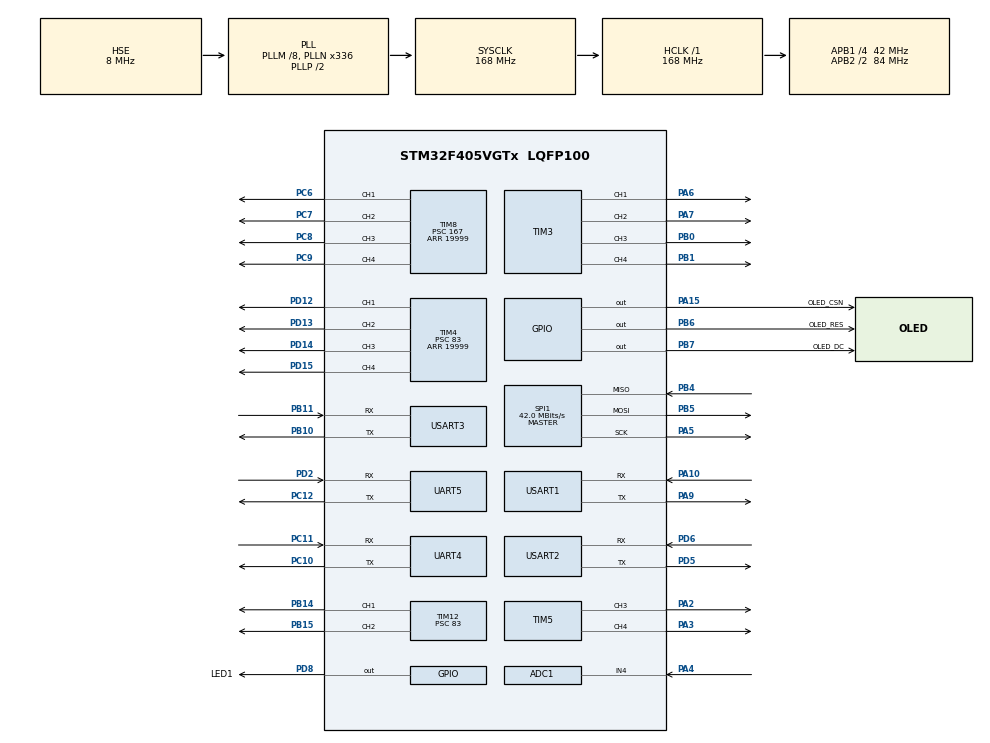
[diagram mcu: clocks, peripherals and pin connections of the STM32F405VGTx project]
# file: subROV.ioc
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PH0-OSC_IN.Signal=RCC_OSC_IN
SPI1.VirtualType=VM_MASTER
PB10.Mode=Asynchronous
NVIC.DMA1_Stream2_IRQn=true\:0\:0\:false\:false\:true\:false\:true
PC12.Signal=UART5_TX
PB6.GPIO_Label=OLED_RES
TIM8.Channel-PWM\ Generation4\ CH4=TIM_CHANNEL_4
Dma.USART3_RX.4.MemDataAlignment=DMA_MDATAALIGN_BYTE
SPI1.TIMode=SPI_TIMODE_DISABLE
TIM3.Channel-PWM\ Generation4\ CH4=TIM_CHANNEL_4
RCC.SYSCLKSource=RCC_SYSCLKSOURCE_PLLCLK
SPI1.Direction=SPI_DIRECTION_2LINES
Dma.USART2_RX.0.PeriphDataAlignment=DMA_PDATAALIGN_BYTE
RCC.APB2TimFreq_Value=168000000
PB6.Signal=GPIO_Output
PC7.Signal=S_TIM8_CH2
SPI1.CalculateBaudRate=42.0 MBits/s
PD8.Signal=GPIO_Output
PE5.Signal=S_TIM9_CH1
TIM4.Channel-PWM\ Generation3\ CH3=TIM_CHANNEL_3
Dma.USART1_RX.1.PeriphDataAlignment=DMA_PDATAALIGN_BYTE
TIM12.Period=255
SH.S_TIM12_CH1.0=TIM12_CH1,PWM Generation1 CH1
SH.S_TIM4_CH2.0=TIM4_CH2,PWM Generation2 CH2
TIM4.Period=19999
VP_TIM1_VS_ClockSourceINT.Mode=Internal
ADC1.SamplingTime-0\#ChannelRegularConversion=ADC_SAMPLETIME_3CYCLES
PB7.PinState=GPIO_PIN_RESET
Dma.USART1_RX.1.Mode=DMA_CIRCULAR
Mcu.Package=LQFP100
PB9.Signal=S_TIM11_CH1
TIM2.Prescaler=83
PB1.Signal=S_TIM3_CH4
TIM8.Channel-PWM\ Generation3\ CH3=TIM_CHANNEL_3
SH.S_TIM8_CH4.0=TIM8_CH4,PWM Generation4 CH4
NVIC.TimeBase=TIM7_IRQn
PD12.Signal=S_TIM4_CH1
PB6.GPIO_ModeDefaultOutputPP=GPIO_MODE_OUTPUT_PP
NVIC.TimeBaseIP=TIM7
PA10.Signal=USART1_RX
PC11.Mode=Asynchronous
SH.S_TIM12_CH2.0=TIM12_CH2,PWM Generation2 CH2
Dma.USART1_RX.1.PeriphInc=DMA_PINC_DISABLE
RCC.APB2CLKDivider=RCC_HCLK_DIV2
NVIC.DMA2_Stream2_IRQn=true\:0\:0\:false\:false\:true\:false\:true
SH.S_TIM4_CH1.0=TIM4_CH1,PWM Generation1 CH1
RCC.APB1TimFreq_Value=84000000
TIM1.Period=20000
NVIC.USART1_IRQn=true\:0\:0\:false\:false\:true\:true\:true
TIM4.Channel-PWM\ Generation4\ CH4=TIM_CHANNEL_4
PD15.Signal=S_TIM4_CH4
Dma.UART4_RX.3.MemInc=DMA_MINC_ENABLE
NVIC.UART4_IRQn=true\:0\:0\:false\:false\:true\:true\:true
PA5.Mode=Full_Duplex_Master
SH.S_TIM8_CH3.0=TIM8_CH3,PWM Generation3 CH3
Dma.USART1_RX.1.Instance=DMA2_Stream2
Dma.USART1_RX.1.MemDataAlignment=DMA_MDATAALIGN_BYTE
ADC1.Rank-0\#ChannelRegularConversion=1
Dma.UART4_RX.3.PeriphInc=DMA_PINC_DISABLE
PC6.Signal=S_TIM8_CH1
Dma.USART2_RX.0.Direction=DMA_PERIPH_TO_MEMORY
TIM5.Channel-PWM\ Generation3\ CH3=TIM_CHANNEL_3
SPI1.CLKPhase=SPI_PHASE_1EDGE
UART5.VirtualMode=Asynchronous
RCC.APB1CLKDivider=RCC_HCLK_DIV4
UART4.VirtualMode=Asynchronous
PD6.Mode=Asynchronous
Dma.UART5_RX.2.MemInc=DMA_MINC_ENABLE
Dma.USART3_RX.4.PeriphDataAlignment=DMA_PDATAALIGN_BYTE
SH.S_TIM8_CH2.0=TIM8_CH2,PWM Generation2 CH2
PA0-WKUP.Signal=S_TIM5_CH1
TIM3.Channel-PWM\ Generation3\ CH3=TIM_CHANNEL_3
Dma.USART3_RX.4.Mode=DMA_CIRCULAR
PB11.Mode=Asynchronous
SH.S_TIM9_CH2.0=TIM9_CH2
PA9.Signal=USART1_TX
VP_TIM8_VS_ClockSourceINT.Mode=Internal
PB10.Signal=USART3_TX
TIM12.Prescaler=83
PB14.Signal=S_TIM12_CH1
PA5.Signal=SPI1_SCK
Dma.USART1_RX.1.FIFOMode=DMA_FIFOMODE_DISABLE
SH.S_TIM8_CH1.0=TIM8_CH1,PWM Generation1 CH1
PC12.Mode=Asynchronous
SPI1.Mode=SPI_MODE_MASTER
SH.S_TIM9_CH1.0=TIM9_CH1
SH.ADCx_IN4.0=ADC1_IN4,IN4
Dma.UART4_RX.3.Instance=DMA1_Stream2
PA13.Mode=Serial_Wire
Dma.USART2_RX.0.MemInc=DMA_MINC_ENABLE
TIM8.Period=19999
PA4.Signal=ADCx_IN4
PB5.Signal=SPI1_MOSI
ADC1.master=1
USART1.VirtualMode=VM_ASYNC
PB6.PinState=GPIO_PIN_RESET
ProjectManager.HeapSize=0x200
Dma.UART5_RX.2.Mode=DMA_CIRCULAR
NVIC.TIM1_UP_TIM10_IRQn=true\:0\:0\:false\:false\:true\:true\:true
Dma.USART3_RX.4.MemInc=DMA_MINC_ENABLE
VP_TIM4_VS_ClockSourceINT.Mode=Internal
NVIC.PriorityGroup=NVIC_PRIORITYGROUP_4
Dma.UART5_RX.2.Direction=DMA_PERIPH_TO_MEMORY
TIM3.Channel-PWM\ Generation2\ CH2=TIM_CHANNEL_2
Dma.USART1_RX.1.Direction=DMA_PERIPH_TO_MEMORY
PD2.Signal=UART5_RX
PB6.GPIO_Speed=GPIO_SPEED_FREQ_VERY_HIGH
PB0.Signal=S_TIM3_CH3
Mcu.Family=STM32F4
NVIC.USART3_IRQn=true\:0\:0\:false\:false\:true\:true\:true
Dma.UART4_RX.3.Priority=DMA_PRIORITY_LOW
Dma.UART4_RX.3.FIFOMode=DMA_FIFOMODE_DISABLE
RCC.CortexFreq_Value=168000000
Dma.UART5_RX.2.Instance=DMA1_Stream0
Dma.USART3_RX.4.Priority=DMA_PRIORITY_LOW
TIM12.Channel-PWM\ Generation2\ CH2=TIM_CHANNEL_2
PC10.Signal=UART4_TX
SH.S_TIM5_CH2.0=TIM5_CH2
Dma.UART4_RX.3.PeriphDataAlignment=DMA_PDATAALIGN_BYTE
Dma.UART4_RX.3.Mode=DMA_CIRCULAR
PB11.Signal=USART3_RX
PB15.Signal=S_TIM12_CH2
ProjectManager.StackSize=0x400
NVIC.UART5_IRQn=true\:0\:0\:false\:false\:true\:true\:true
Dma.UART4_RX.3.Direction=DMA_PERIPH_TO_MEMORY
PD13.Signal=S_TIM4_CH2
PA15.GPIO_Label=OLED_CSN
TIM1.Prescaler=167
SPI1.CLKPolarity=SPI_POLARITY_LOW
Dma.USART2_RX.0.Priority=DMA_PRIORITY_LOW
RCC.HCLKFreq_Value=168000000
TIM8.Channel-PWM\ Generation1\ CH1=TIM_CHANNEL_1
SH.S_TIM5_CH3.0=TIM5_CH3,PWM Generation3 CH3
Dma.USART1_RX.1.MemInc=DMA_MINC_ENABLE
RCC.AHBFreq_Value=168000000
PH0-OSC_IN.Mode=HSE-External-Oscillator
PD5.Mode=Asynchronous
TIM3.Channel-PWM\ Generation1\ CH1=TIM_CHANNEL_1
ADC1.Channel-0\#ChannelRegularConversion=ADC_CHANNEL_4
RCC.HSE_VALUE=8000000
Dma.USART3_RX.4.PeriphInc=DMA_PINC_DISABLE
PB4.Mode=Full_Duplex_Master
Dma.USART2_RX.0.MemDataAlignment=DMA_MDATAALIGN_BYTE
TIM5.Channel-PWM\ Generation4\ CH4=TIM_CHANNEL_4
PA14.Mode=Serial_Wire
Dma.UART5_RX.2.Priority=DMA_PRIORITY_LOW
PB5.Mode=Full_Duplex_Master
Dma.USART2_RX.0.Instance=DMA1_Stream5
PB7.Signal=GPIO_Output
VP_TIM12_VS_ClockSourceINT.Mode=Internal
SH.S_TIM3_CH1.0=TIM3_CH1,PWM Generation1 CH1
PA15.GPIO_ModeDefaultOutputPP=GPIO_MODE_OUTPUT_PP
Dma.UART5_RX.2.PeriphInc=DMA_PINC_DISABLE
PB7.GPIO_Label=OLED_DC
PH1-OSC_OUT.Mode=HSE-External-Oscillator
PA6.Signal=S_TIM3_CH1
Dma.USART2_RX.0.PeriphInc=DMA_PINC_DISABLE
USART2.VirtualMode=VM_ASYNC
Dma.USART2_RX.0.FIFOMode=DMA_FIFOMODE_DISABLE
SH.S_TIM10_CH1.0=TIM10_CH1
TIM8.Channel-PWM\ Generation2\ CH2=TIM_CHANNEL_2
PA15.Signal=GPIO_Output
TIM8.Prescaler=167
Dma.USART3_RX.4.Instance=DMA1_Stream1
Dma.Request2=UART5_RX
Dma.Request1=USART1_RX
Dma.Request4=USART3_RX
Dma.Request3=UART4_RX
SH.S_TIM5_CH1.0=TIM5_CH1
NVIC.DMA1_Stream0_IRQn=true\:0\:0\:false\:false\:true\:false\:true
Dma.USART1_RX.1.Priority=DMA_PRIORITY_LOW
PD6.Signal=USART2_RX
SH.S_TIM11_CH1.0=TIM11_CH1
Dma.Request0=USART2_RX
SPI1.BaudRatePrescaler=SPI_BAUDRATEPRESCALER_2
NVIC.TIM7_IRQn=true\:0\:0\:false\:false\:true\:false\:true
VP_TIM3_VS_ClockSourceINT.Mode=Internal
Dma.UART5_RX.2.FIFOMode=DMA_FIFOMODE_DISABLE
Dma.USART3_RX.4.FIFOMode=DMA_FIFOMODE_DISABLE
PB4.Signal=SPI1_MISO
PA3.Signal=S_TIM5_CH4
PB7.GPIO_Speed=GPIO_SPEED_FREQ_VERY_HIGH
RCC.PLLSourceVirtual=RCC_PLLSOURCE_HSE
TIM4.Channel-PWM\ Generation1\ CH1=TIM_CHANNEL_1
PA10.Mode=Asynchronous
SH.S_TIM4_CH4.0=TIM4_CH4,PWM Generation4 CH4
PC11.Signal=UART4_RX
VP_SYS_VS_tim7.Mode=TIM7
PC8.Signal=S_TIM8_CH3
PC10.Mode=Asynchronous
PD5.Signal=USART2_TX
NVIC.DMA1_Stream1_IRQn=true\:0\:0\:false\:false\:true\:false\:true
Dma.UART4_RX.3.MemDataAlignment=DMA_MDATAALIGN_BYTE
SH.S_TIM3_CH3.0=TIM3_CH3,PWM Generation3 CH3
NVIC.USART2_IRQn=true\:0\:0\:false\:false\:true\:true\:true
Dma.USART2_RX.0.Mode=DMA_CIRCULAR
PD8.GPIO_Label=LED1
PA13.Signal=SYS_JTMS-SWDIO
PA9.Mode=Asynchronous
ProjectManager.TargetToolchain=STM32CubeIDE
NVIC.DMA1_Stream5_IRQn=true\:0\:0\:false\:false\:true\:false\:true
SH.S_TIM4_CH3.0=TIM4_CH3,PWM Generation3 CH3
TIM4.Prescaler=83
RCC.LSE_VALUE=32768
PA1.Signal=S_TIM5_CH2
PD2.Mode=Asynchronous
SH.S_TIM3_CH2.0=TIM3_CH2,PWM Generation2 CH2
board=custom
RCC.VCOOutputFreq_Value=336000000
PA15.PinState=GPIO_PIN_RESET
TIM12.Channel-PWM\ Generation1\ CH1=TIM_CHANNEL_1
TIM4.Channel-PWM\ Generation2\ CH2=TIM_CHANNEL_2
RCC.APB2Freq_Value=84000000
VP_TIM2_VS_ClockSourceINT.Mode=Internal
PB7.GPIO_ModeDefaultOutputPP=GPIO_MODE_OUTPUT_PP
PH1-OSC_OUT.Signal=RCC_OSC_OUT
SH.S_TIM5_CH4.0=TIM5_CH4,PWM Generation4 CH4
PE6.Signal=S_TIM9_CH2
Mcu.Name=STM32F405VGTx
PA2.Signal=S_TIM5_CH3
PD14.Signal=S_TIM4_CH3
RCC.48MHZClocksFreq_Value=84000000
RCC.SYSCLKFreq_VALUE=168000000
USART3.VirtualMode=VM_ASYNC
PA15.GPIO_Speed=GPIO_SPEED_FREQ_VERY_HIGH
PA14.Signal=SYS_JTCK-SWCLK
RCC.HSI_VALUE=16000000
Dma.USART3_RX.4.Direction=DMA_PERIPH_TO_MEMORY
ADC1.NbrOfConversionFlag=1
RCC.PLLM=8
RCC.PLLN=336
PB8.Signal=S_TIM10_CH1
PC9.Signal=S_TIM8_CH4
RCC.APB1Freq_Value=42000000
Dma.UART5_RX.2.PeriphDataAlignment=DMA_PDATAALIGN_BYTE
Dma.UART5_RX.2.MemDataAlignment=DMA_MDATAALIGN_BYTE
SH.S_TIM3_CH4.0=TIM3_CH4,PWM Generation4 CH4
PA7.Signal=S_TIM3_CH2

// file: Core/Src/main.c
/* USER CODE BEGIN Header */
/**
  ******************************************************************************
  * @file           : main.c
  * @brief          : Main program body
  ******************************************************************************
  * @attention
  *
  * <h2><center>&copy; Copyright (c) 2021 STMicroelectronics.
  * All rights reserved.</center></h2>
  *
  * This software component is licensed by ST under BSD 3-Clause license,
  * the "License"; You may not use this file except in compliance with the
  * License. You may obtain a copy of the License at:
  *                        opensource.org/licenses/BSD-3-Clause
  *
  ******************************************************************************
  */
/* USER CODE END Header */
#include "main.h"

/* USER CODE BEGIN Includes */
#include <stdio.h>
#include "VRU.h"
#include "oled.h"
#include "motor.h"
#include "PID.h"
#include "remote.h"
#include "raspi.h"
#include "deepSensor.h"
/* USER CODE END Includes */

ADC_HandleTypeDef hadc1;

SPI_HandleTypeDef hspi1;

TIM_HandleTypeDef htim1;
TIM_HandleTypeDef htim2;
TIM_HandleTypeDef htim3;
TIM_HandleTypeDef htim4;
TIM_HandleTypeDef htim5;
TIM_HandleTypeDef htim8;
TIM_HandleTypeDef htim12;

UART_HandleTypeDef huart4;
UART_HandleTypeDef huart5;
UART_HandleTypeDef huart1;
UART_HandleTypeDef huart2;
UART_HandleTypeDef huart3;
DMA_HandleTypeDef hdma_uart4_rx;
DMA_HandleTypeDef hdma_uart5_rx;
DMA_HandleTypeDef hdma_usart1_rx;
DMA_HandleTypeDef hdma_usart2_rx;
DMA_HandleTypeDef hdma_usart3_rx;

/* USER CODE BEGIN PV */
struct Frame frame={
		.tail={0x00, 0x00, 0x80, 0x7f}
};
/* USER CODE END PV */

void SystemClock_Config(void);
static void MX_GPIO_Init(void);
static void MX_DMA_Init(void);
static void MX_ADC1_Init(void);
static void MX_SPI1_Init(void);
static void MX_TIM1_Init(void);
static void MX_TIM2_Init(void);
static void MX_TIM3_Init(void);
static void MX_TIM4_Init(void);
static void MX_TIM5_Init(void);
static void MX_TIM8_Init(void);
static void MX_UART4_Init(void);
static void MX_UART5_Init(void);
static void MX_USART1_UART_Init(void);
static void MX_USART2_UART_Init(void);
static void MX_USART3_UART_Init(void);
static void MX_TIM12_Init(void);

/* USER CODE BEGIN 0 */
int _write(int file, char *ptr, int len) {
	HAL_UART_Transmit(&huart1, (uint8_t*) ptr, len, 300);
	return len;
}
void delay_us(unsigned int us) {
	unsigned int times = us + TIM2->CNT;
	while (TIM2->CNT < times)
		;
	return;
}
void delay_ms(unsigned int ms) {
	HAL_Delay(ms);
	return;
}
void HAL_UART_RxCpltCallback(UART_HandleTypeDef *huart)
{
	if(&huart2==huart)
	{
		VRUupdate();
	}else if(&huart4==huart)
	 {
		raspiUpdate();
	}
}
void HAL_UART_ErrorCallback(UART_HandleTypeDef *huart)
{
	if(&huart2==huart)
	{
		VRUerror(huart);
	}else if(&huart1==huart)
	{
		//remoteerr(huart);
	}else if(&huart5==huart)
	{
		remoteerr(huart);
	}else if(&huart3==huart)
	{
		deepSensorerr(huart);
	}else if(&huart4==huart)
	{
		raspierr(huart);
	}
}

/* USER CODE END 0 */

int main(void)
{

  /* MCU Configuration--------------------------------------------------------*/

  /* Reset of all peripherals, Initializes the Flash interface and the Systick. */
  HAL_Init();

  /* Configure the system clock */
  SystemClock_Config();

  /* Initialize all configured peripherals */
  MX_GPIO_Init();
  MX_DMA_Init();
  MX_ADC1_Init();
  MX_SPI1_Init();
  MX_TIM1_Init();
  MX_TIM2_Init();
  MX_TIM3_Init();
  MX_TIM4_Init();
  MX_TIM5_Init();
  MX_TIM8_Init();
  MX_UART4_Init();
  MX_UART5_Init();
  MX_USART1_UART_Init();
  MX_USART2_UART_Init();
  MX_USART3_UART_Init();
  MX_TIM12_Init();
  /* USER CODE BEGIN 2 */
  HAL_TIM_Base_Start(&htim2);//delay function sppeeort

  motorinit();

	HAL_TIM_Base_Start_IT(&htim1);
	HAL_TIM_PWM_Start(&htim12, TIM_CHANNEL_1);
	HAL_TIM_PWM_Start(&htim12, TIM_CHANNEL_2);

	VRUinit(&huart2);
	OLED_Init();
	//PID_init();
	remoteInit(&huart5);
	raspiInit(&huart4);
	deepSensorInit(&huart3);
	//remoteInit(&huart1);

  /* USER CODE END 2 */

  /* Infinite loop */
  /* USER CODE BEGIN WHILE */
  printf("hello\r\n");
  //OLED_ShowString(0,0,"runing...");

  OLED_ShowString(0,12,"run time:");
  OLED_ShowString(0,12,"worning:");
  OLED_ShowString(0,12,"temp:");
  while (1)
  {
	  OLED_ShowNumber(64, 12, HAL_GetTick()/1000, 3, 12);
	  HAL_Delay(333);
	  HAL_GPIO_TogglePin(LED1_GPIO_Port, LED1_Pin);
    /* USER CODE END WHILE */

  }
}

void SystemClock_Config(void)
{
  RCC_OscInitTypeDef RCC_OscInitStruct = {0};
  RCC_ClkInitTypeDef RCC_ClkInitStruct = {0};

  /** Configure the main internal regulator output voltage
  */
  __HAL_RCC_PWR_CLK_ENABLE();
  __HAL_PWR_VOLTAGESCALING_CONFIG(PWR_REGULATOR_VOLTAGE_SCALE1);
  /** Initializes the RCC Oscillators according to the specified parameters
  * in the RCC_OscInitTypeDef structure.
  */
  RCC_OscInitStruct.OscillatorType = RCC_OSCILLATORTYPE_HSE;
  RCC_OscInitStruct.HSEState = RCC_HSE_ON;
  RCC_OscInitStruct.PLL.PLLState = RCC_PLL_ON;
  RCC_OscInitStruct.PLL.PLLSource = RCC_PLLSOURCE_HSE;
  RCC_OscInitStruct.PLL.PLLM = 8;
  RCC_OscInitStruct.PLL.PLLN = 336;
  RCC_OscInitStruct.PLL.PLLP = RCC_PLLP_DIV2;
  RCC_OscInitStruct.PLL.PLLQ = 4;
  if (HAL_RCC_OscConfig(&RCC_OscInitStruct) != HAL_OK)
  {
    Error_Handler();
  }
  /** Initializes the CPU, AHB and APB buses clocks
  */
  RCC_ClkInitStruct.ClockType = RCC_CLOCKTYPE_HCLK|RCC_CLOCKTYPE_SYSCLK
                              |RCC_CLOCKTYPE_PCLK1|RCC_CLOCKTYPE_PCLK2;
  RCC_ClkInitStruct.SYSCLKSource = RCC_SYSCLKSOURCE_PLLCLK;
  RCC_ClkInitStruct.AHBCLKDivider = RCC_SYSCLK_DIV1;
  RCC_ClkInitStruct.APB1CLKDivider = RCC_HCLK_DIV4;
  RCC_ClkInitStruct.APB2CLKDivider = RCC_HCLK_DIV2;

  if (HAL_RCC_ClockConfig(&RCC_ClkInitStruct, FLASH_LATENCY_5) != HAL_OK)
  {
    Error_Handler();
  }
}

static void MX_ADC1_Init(void)
{

  ADC_ChannelConfTypeDef sConfig = {0};

  /** Configure the global features of the ADC (Clock, Resolution, Data Alignment and number of conversion)
  */
  hadc1.Instance = ADC1;
  hadc1.Init.ClockPrescaler = ADC_CLOCK_SYNC_PCLK_DIV4;
  hadc1.Init.Resolution = ADC_RESOLUTION_12B;
  hadc1.Init.ScanConvMode = DISABLE;
  hadc1.Init.ContinuousConvMode = DISABLE;
  hadc1.Init.DiscontinuousConvMode = DISABLE;
  hadc1.Init.ExternalTrigConvEdge = ADC_EXTERNALTRIGCONVEDGE_NONE;
  hadc1.Init.ExternalTrigConv = ADC_SOFTWARE_START;
  hadc1.Init.DataAlign = ADC_DATAALIGN_RIGHT;
  hadc1.Init.NbrOfConversion = 1;
  hadc1.Init.DMAContinuousRequests = DISABLE;
  hadc1.Init.EOCSelection = ADC_EOC_SINGLE_CONV;
  if (HAL_ADC_Init(&hadc1) != HAL_OK)
  {
    Error_Handler();
  }
  /** Configure for the selected ADC regular channel its corresponding rank in the sequencer and its sample time.
  */
  sConfig.Channel = ADC_CHANNEL_4;
  sConfig.Rank = 1;
  sConfig.SamplingTime = ADC_SAMPLETIME_3CYCLES;
  if (HAL_ADC_ConfigChannel(&hadc1, &sConfig) != HAL_OK)
  {
    Error_Handler();
  }

}

static void MX_SPI1_Init(void)
{

  /* SPI1 parameter configuration*/
  hspi1.Instance = SPI1;
  hspi1.Init.Mode = SPI_MODE_MASTER;
  hspi1.Init.Direction = SPI_DIRECTION_2LINES;
  hspi1.Init.DataSize = SPI_DATASIZE_8BIT;
  hspi1.Init.CLKPolarity = SPI_POLARITY_LOW;
  hspi1.Init.CLKPhase = SPI_PHASE_1EDGE;
  hspi1.Init.NSS = SPI_NSS_SOFT;
  hspi1.Init.BaudRatePrescaler = SPI_BAUDRATEPRESCALER_2;
  hspi1.Init.FirstBit = SPI_FIRSTBIT_MSB;
  hspi1.Init.TIMode = SPI_TIMODE_DISABLE;
  hspi1.Init.CRCCalculation = SPI_CRCCALCULATION_DISABLE;
  hspi1.Init.CRCPolynomial = 10;
  if (HAL_SPI_Init(&hspi1) != HAL_OK)
  {
    Error_Handler();
  }

}

static void MX_TIM1_Init(void)
{

  TIM_ClockConfigTypeDef sClockSourceConfig = {0};
  TIM_MasterConfigTypeDef sMasterConfig = {0};

  htim1.Instance = TIM1;
  htim1.Init.Prescaler = 167;
  htim1.Init.CounterMode = TIM_COUNTERMODE_UP;
  htim1.Init.Period = 20000;
  htim1.Init.ClockDivision = TIM_CLOCKDIVISION_DIV1;
  htim1.Init.RepetitionCounter = 0;
  htim1.Init.AutoReloadPreload = TIM_AUTORELOAD_PRELOAD_DISABLE;
  if (HAL_TIM_Base_Init(&htim1) != HAL_OK)
  {
    Error_Handler();
  }
  sClockSourceConfig.ClockSource = TIM_CLOCKSOURCE_INTERNAL;
  if (HAL_TIM_ConfigClockSource(&htim1, &sClockSourceConfig) != HAL_OK)
  {
    Error_Handler();
  }
  sMasterConfig.MasterOutputTrigger = TIM_TRGO_RESET;
  sMasterConfig.MasterSlaveMode = TIM_MASTERSLAVEMODE_DISABLE;
  if (HAL_TIMEx_MasterConfigSynchronization(&htim1, &sMasterConfig) != HAL_OK)
  {
    Error_Handler();
  }

}

static void MX_TIM2_Init(void)
{

  TIM_ClockConfigTypeDef sClockSourceConfig = {0};
  TIM_MasterConfigTypeDef sMasterConfig = {0};

  htim2.Instance = TIM2;
  htim2.Init.Prescaler = 83;
  htim2.Init.CounterMode = TIM_COUNTERMODE_UP;
  htim2.Init.Period = 4294967295;
  htim2.Init.ClockDivision = TIM_CLOCKDIVISION_DIV1;
  htim2.Init.AutoReloadPreload = TIM_AUTORELOAD_PRELOAD_DISABLE;
  if (HAL_TIM_Base_Init(&htim2) != HAL_OK)
  {
    Error_Handler();
  }
  sClockSourceConfig.ClockSource = TIM_CLOCKSOURCE_INTERNAL;
  if (HAL_TIM_ConfigClockSource(&htim2, &sClockSourceConfig) != HAL_OK)
  {
    Error_Handler();
  }
  sMasterConfig.MasterOutputTrigger = TIM_TRGO_RESET;
  sMasterConfig.MasterSlaveMode = TIM_MASTERSLAVEMODE_DISABLE;
  if (HAL_TIMEx_MasterConfigSynchronization(&htim2, &sMasterConfig) != HAL_OK)
  {
    Error_Handler();
  }

}

static void MX_TIM3_Init(void)
{

  TIM_ClockConfigTypeDef sClockSourceConfig = {0};
  TIM_MasterConfigTypeDef sMasterConfig = {0};
  TIM_OC_InitTypeDef sConfigOC = {0};

  htim3.Instance = TIM3;
  htim3.Init.Prescaler = 0;
  htim3.Init.CounterMode = TIM_COUNTERMODE_UP;
  htim3.Init.Period = 65535;
  htim3.Init.ClockDivision = TIM_CLOCKDIVISION_DIV1;
  htim3.Init.AutoReloadPreload = TIM_AUTORELOAD_PRELOAD_DISABLE;
  if (HAL_TIM_Base_Init(&htim3) != HAL_OK)
  {
    Error_Handler();
  }
  sClockSourceConfig.ClockSource = TIM_CLOCKSOURCE_INTERNAL;
  if (HAL_TIM_ConfigClockSource(&htim3, &sClockSourceConfig) != HAL_OK)
  {
    Error_Handler();
  }
  if (HAL_TIM_PWM_Init(&htim3) != HAL_OK)
  {
    Error_Handler();
  }
  sMasterConfig.MasterOutputTrigger = TIM_TRGO_RESET;
  sMasterConfig.MasterSlaveMode = TIM_MASTERSLAVEMODE_DISABLE;
  if (HAL_TIMEx_MasterConfigSynchronization(&htim3, &sMasterConfig) != HAL_OK)
  {
    Error_Handler();
  }
  sConfigOC.OCMode = TIM_OCMODE_PWM1;
  sConfigOC.Pulse = 0;
  sConfigOC.OCPolarity = TIM_OCPOLARITY_HIGH;
  sConfigOC.OCFastMode = TIM_OCFAST_DISABLE;
  if (HAL_TIM_PWM_ConfigChannel(&htim3, &sConfigOC, TIM_CHANNEL_1) != HAL_OK)
  {
    Error_Handler();
  }
  if (HAL_TIM_PWM_ConfigChannel(&htim3, &sConfigOC, TIM_CHANNEL_2) != HAL_OK)
  {
    Error_Handler();
  }
  if (HAL_TIM_PWM_ConfigChannel(&htim3, &sConfigOC, TIM_CHANNEL_3) != HAL_OK)
  {
    Error_Handler();
  }
  if (HAL_TIM_PWM_ConfigChannel(&htim3, &sConfigOC, TIM_CHANNEL_4) != HAL_OK)
  {
    Error_Handler();
  }
  HAL_TIM_MspPostInit(&htim3);

}

static void MX_TIM4_Init(void)
{

  TIM_ClockConfigTypeDef sClockSourceConfig = {0};
  TIM_MasterConfigTypeDef sMasterConfig = {0};
  TIM_OC_InitTypeDef sConfigOC = {0};

  htim4.Instance = TIM4;
  htim4.Init.Prescaler = 83;
  htim4.Init.CounterMode = TIM_COUNTERMODE_UP;
  htim4.Init.Period = 19999;
  htim4.Init.ClockDivision = TIM_CLOCKDIVISION_DIV1;
  htim4.Init.AutoReloadPreload = TIM_AUTORELOAD_PRELOAD_DISABLE;
  if (HAL_TIM_Base_Init(&htim4) != HAL_OK)
  {
    Error_Handler();
  }
  sClockSourceConfig.ClockSource = TIM_CLOCKSOURCE_INTERNAL;
  if (HAL_TIM_ConfigClockSource(&htim4, &sClockSourceConfig) != HAL_OK)
  {
    Error_Handler();
  }
  if (HAL_TIM_PWM_Init(&htim4) != HAL_OK)
  {
    Error_Handler();
  }
  sMasterConfig.MasterOutputTrigger = TIM_TRGO_RESET;
  sMasterConfig.MasterSlaveMode = TIM_MASTERSLAVEMODE_DISABLE;
  if (HAL_TIMEx_MasterConfigSynchronization(&htim4, &sMasterConfig) != HAL_OK)
  {
    Error_Handler();
  }
  sConfigOC.OCMode = TIM_OCMODE_PWM1;
  sConfigOC.Pulse = 0;
  sConfigOC.OCPolarity = TIM_OCPOLARITY_HIGH;
  sConfigOC.OCFastMode = TIM_OCFAST_DISABLE;
  if (HAL_TIM_PWM_ConfigChannel(&htim4, &sConfigOC, TIM_CHANNEL_1) != HAL_OK)
  {
    Error_Handler();
  }
  if (HAL_TIM_PWM_ConfigChannel(&htim4, &sConfigOC, TIM_CHANNEL_2) != HAL_OK)
  {
    Error_Handler();
  }
  if (HAL_TIM_PWM_ConfigChannel(&htim4, &sConfigOC, TIM_CHANNEL_3) != HAL_OK)
  {
    Error_Handler();
  }
  if (HAL_TIM_PWM_ConfigChannel(&htim4, &sConfigOC, TIM_CHANNEL_4) != HAL_OK)
  {
    Error_Handler();
  }
  HAL_TIM_MspPostInit(&htim4);

}

static void MX_TIM5_Init(void)
{

  TIM_MasterConfigTypeDef sMasterConfig = {0};
  TIM_OC_InitTypeDef sConfigOC = {0};

  htim5.Instance = TIM5;
  htim5.Init.Prescaler = 0;
  htim5.Init.CounterMode = TIM_COUNTERMODE_UP;
  htim5.Init.Period = 4294967295;
  htim5.Init.ClockDivision = TIM_CLOCKDIVISION_DIV1;
  htim5.Init.AutoReloadPreload = TIM_AUTORELOAD_PRELOAD_DISABLE;
  if (HAL_TIM_PWM_Init(&htim5) != HAL_OK)
  {
    Error_Handler();
  }
  sMasterConfig.MasterOutputTrigger = TIM_TRGO_RESET;
  sMasterConfig.MasterSlaveMode = TIM_MASTERSLAVEMODE_DISABLE;
  if (HAL_TIMEx_MasterConfigSynchronization(&htim5, &sMasterConfig) != HAL_OK)
  {
    Error_Handler();
  }
  sConfigOC.OCMode = TIM_OCMODE_PWM1;
  sConfigOC.Pulse = 0;
  sConfigOC.OCPolarity = TIM_OCPOLARITY_HIGH;
  sConfigOC.OCFastMode = TIM_OCFAST_DISABLE;
  if (HAL_TIM_PWM_ConfigChannel(&htim5, &sConfigOC, TIM_CHANNEL_3) != HAL_OK)
  {
    Error_Handler();
  }
  if (HAL_TIM_PWM_ConfigChannel(&htim5, &sConfigOC, TIM_CHANNEL_4) != HAL_OK)
  {
    Error_Handler();
  }
  HAL_TIM_MspPostInit(&htim5);

}

static void MX_TIM8_Init(void)
{

  TIM_ClockConfigTypeDef sClockSourceConfig = {0};
  TIM_MasterConfigTypeDef sMasterConfig = {0};
  TIM_OC_InitTypeDef sConfigOC = {0};
  TIM_BreakDeadTimeConfigTypeDef sBreakDeadTimeConfig = {0};

  htim8.Instance = TIM8;
  htim8.Init.Prescaler = 167;
  htim8.Init.CounterMode = TIM_COUNTERMODE_UP;
  htim8.Init.Period = 19999;
  htim8.Init.ClockDivision = TIM_CLOCKDIVISION_DIV1;
  htim8.Init.RepetitionCounter = 0;
  htim8.Init.AutoReloadPreload = TIM_AUTORELOAD_PRELOAD_DISABLE;
  if (HAL_TIM_Base_Init(&htim8) != HAL_OK)
  {
    Error_Handler();
  }
  sClockSourceConfig.ClockSource = TIM_CLOCKSOURCE_INTERNAL;
  if (HAL_TIM_ConfigClockSource(&htim8, &sClockSourceConfig) != HAL_OK)
  {
    Error_Handler();
  }
  if (HAL_TIM_PWM_Init(&htim8) != HAL_OK)
  {
    Error_Handler();
  }
  sMasterConfig.MasterOutputTrigger = TIM_TRGO_RESET;
  sMasterConfig.MasterSlaveMode = TIM_MASTERSLAVEMODE_DISABLE;
  if (HAL_TIMEx_MasterConfigSynchronization(&htim8, &sMasterConfig) != HAL_OK)
  {
    Error_Handler();
  }
  sConfigOC.OCMode = TIM_OCMODE_PWM1;
  sConfigOC.Pulse = 0;
  sConfigOC.OCPolarity = TIM_OCPOLARITY_HIGH;
  sConfigOC.OCNPolarity = TIM_OCNPOLARITY_HIGH;
  sConfigOC.OCFastMode = TIM_OCFAST_DISABLE;
  sConfigOC.OCIdleState = TIM_OCIDLESTATE_RESET;
  sConfigOC.OCNIdleState = TIM_OCNIDLESTATE_RESET;
  if (HAL_TIM_PWM_ConfigChannel(&htim8, &sConfigOC, TIM_CHANNEL_1) != HAL_OK)
  {
    Error_Handler();
  }
  if (HAL_TIM_PWM_ConfigChannel(&htim8, &sConfigOC, TIM_CHANNEL_2) != HAL_OK)
  {
    Error_Handler();
  }
  if (HAL_TIM_PWM_ConfigChannel(&htim8, &sConfigOC, TIM_CHANNEL_3) != HAL_OK)
  {
    Error_Handler();
  }
  if (HAL_TIM_PWM_ConfigChannel(&htim8, &sConfigOC, TIM_CHANNEL_4) != HAL_OK)
  {
    Error_Handler();
  }
  sBreakDeadTimeConfig.OffStateRunMode = TIM_OSSR_DISABLE;
  sBreakDeadTimeConfig.OffStateIDLEMode = TIM_OSSI_DISABLE;
  sBreakDeadTimeConfig.LockLevel = TIM_LOCKLEVEL_OFF;
  sBreakDeadTimeConfig.DeadTime = 0;
  sBreakDeadTimeConfig.BreakState = TIM_BREAK_DISABLE;
  sBreakDeadTimeConfig.BreakPolarity = TIM_BREAKPOLARITY_HIGH;
  sBreakDeadTimeConfig.AutomaticOutput = TIM_AUTOMATICOUTPUT_DISABLE;
  if (HAL_TIMEx_ConfigBreakDeadTime(&htim8, &sBreakDeadTimeConfig) != HAL_OK)
  {
    Error_Handler();
  }
  HAL_TIM_MspPostInit(&htim8);

}

static void MX_TIM12_Init(void)
{

  TIM_ClockConfigTypeDef sClockSourceConfig = {0};
  TIM_OC_InitTypeDef sConfigOC = {0};

  htim12.Instance = TIM12;
  htim12.Init.Prescaler = 83;
  htim12.Init.CounterMode = TIM_COUNTERMODE_UP;
  htim12.Init.Period = 255;
  htim12.Init.ClockDivision = TIM_CLOCKDIVISION_DIV1;
  htim12.Init.AutoReloadPreload = TIM_AUTORELOAD_PRELOAD_DISABLE;
  if (HAL_TIM_Base_Init(&htim12) != HAL_OK)
  {
    Error_Handler();
  }
  sClockSourceConfig.ClockSource = TIM_CLOCKSOURCE_INTERNAL;
  if (HAL_TIM_ConfigClockSource(&htim12, &sClockSourceConfig) != HAL_OK)
  {
    Error_Handler();
  }
  if (HAL_TIM_PWM_Init(&htim12) != HAL_OK)
  {
    Error_Handler();
  }
  sConfigOC.OCMode = TIM_OCMODE_PWM1;
  sConfigOC.Pulse = 0;
  sConfigOC.OCPolarity = TIM_OCPOLARITY_HIGH;
  sConfigOC.OCFastMode = TIM_OCFAST_DISABLE;
  if (HAL_TIM_PWM_ConfigChannel(&htim12, &sConfigOC, TIM_CHANNEL_1) != HAL_OK)
  {
    Error_Handler();
  }
  if (HAL_TIM_PWM_ConfigChannel(&htim12, &sConfigOC, TIM_CHANNEL_2) != HAL_OK)
  {
    Error_Handler();
  }
  HAL_TIM_MspPostInit(&htim12);

}

static void MX_UART4_Init(void)
{

  huart4.Instance = UART4;
  huart4.Init.BaudRate = 115200;
  huart4.Init.WordLength = UART_WORDLENGTH_8B;
  huart4.Init.StopBits = UART_STOPBITS_1;
  huart4.Init.Parity = UART_PARITY_NONE;
  huart4.Init.Mode = UART_MODE_TX_RX;
  huart4.Init.HwFlowCtl = UART_HWCONTROL_NONE;
  huart4.Init.OverSampling = UART_OVERSAMPLING_16;
  if (HAL_UART_Init(&huart4) != HAL_OK)
  {
    Error_Handler();
  }

}

static void MX_UART5_Init(void)
{

  huart5.Instance = UART5;
  huart5.Init.BaudRate = 115200;
  huart5.Init.WordLength = UART_WORDLENGTH_8B;
  huart5.Init.StopBits = UART_STOPBITS_1;
  huart5.Init.Parity = UART_PARITY_NONE;
  huart5.Init.Mode = UART_MODE_TX_RX;
  huart5.Init.HwFlowCtl = UART_HWCONTROL_NONE;
  huart5.Init.OverSampling = UART_OVERSAMPLING_16;
  if (HAL_UART_Init(&huart5) != HAL_OK)
  {
    Error_Handler();
  }

}

static void MX_USART1_UART_Init(void)
{

  huart1.Instance = USART1;
  huart1.Init.BaudRate = 115200;
  huart1.Init.WordLength = UART_WORDLENGTH_8B;
  huart1.Init.StopBits = UART_STOPBITS_1;
  huart1.Init.Parity = UART_PARITY_NONE;
  huart1.Init.Mode = UART_MODE_TX_RX;
  huart1.Init.HwFlowCtl = UART_HWCONTROL_NONE;
  huart1.Init.OverSampling = UART_OVERSAMPLING_16;
  if (HAL_UART_Init(&huart1) != HAL_OK)
  {
    Error_Handler();
  }

}

static void MX_USART2_UART_Init(void)
{

  huart2.Instance = USART2;
  huart2.Init.BaudRate = 115200;
  huart2.Init.WordLength = UART_WORDLENGTH_8B;
  huart2.Init.StopBits = UART_STOPBITS_1;
  huart2.Init.Parity = UART_PARITY_NONE;
  huart2.Init.Mode = UART_MODE_TX_RX;
  huart2.Init.HwFlowCtl = UART_HWCONTROL_NONE;
  huart2.Init.OverSampling = UART_OVERSAMPLING_16;
  if (HAL_UART_Init(&huart2) != HAL_OK)
  {
    Error_Handler();
  }

}

static void MX_USART3_UART_Init(void)
{

  huart3.Instance = USART3;
  huart3.Init.BaudRate = 115200;
  huart3.Init.WordLength = UART_WORDLENGTH_8B;
  huart3.Init.StopBits = UART_STOPBITS_1;
  huart3.Init.Parity = UART_PARITY_NONE;
  huart3.Init.Mode = UART_MODE_TX_RX;
  huart3.Init.HwFlowCtl = UART_HWCONTROL_NONE;
  huart3.Init.OverSampling = UART_OVERSAMPLING_16;
  if (HAL_UART_Init(&huart3) != HAL_OK)
  {
    Error_Handler();
  }

}

static void MX_DMA_Init(void)
{

  /* DMA controller clock enable */
  __HAL_RCC_DMA1_CLK_ENABLE();
  __HAL_RCC_DMA2_CLK_ENABLE();

  /* DMA interrupt init */
  /* DMA1_Stream0_IRQn interrupt configuration */
  HAL_NVIC_SetPriority(DMA1_Stream0_IRQn, 0, 0);
  HAL_NVIC_EnableIRQ(DMA1_Stream0_IRQn);
  /* DMA1_Stream1_IRQn interrupt configuration */
  HAL_NVIC_SetPriority(DMA1_Stream1_IRQn, 0, 0);
  HAL_NVIC_EnableIRQ(DMA1_Stream1_IRQn);
  /* DMA1_Stream2_IRQn interrupt configuration */
  HAL_NVIC_SetPriority(DMA1_Stream2_IRQn, 0, 0);
  HAL_NVIC_EnableIRQ(DMA1_Stream2_IRQn);
  /* DMA1_Stream5_IRQn interrupt configuration */
  HAL_NVIC_SetPriority(DMA1_Stream5_IRQn, 0, 0);
  HAL_NVIC_EnableIRQ(DMA1_Stream5_IRQn);
  /* DMA2_Stream2_IRQn interrupt configuration */
  HAL_NVIC_SetPriority(DMA2_Stream2_IRQn, 0, 0);
  HAL_NVIC_EnableIRQ(DMA2_Stream2_IRQn);

}

static void MX_GPIO_Init(void)
{
  GPIO_InitTypeDef GPIO_InitStruct = {0};

  /* GPIO Ports Clock Enable */
  __HAL_RCC_GPIOE_CLK_ENABLE();
  __HAL_RCC_GPIOH_CLK_ENABLE();
  __HAL_RCC_GPIOA_CLK_ENABLE();
  __HAL_RCC_GPIOB_CLK_ENABLE();
  __HAL_RCC_GPIOD_CLK_ENABLE();
  __HAL_RCC_GPIOC_CLK_ENABLE();

  /*Configure GPIO pin Output Level */
  HAL_GPIO_WritePin(LED1_GPIO_Port, LED1_Pin, GPIO_PIN_RESET);

  /*Configure GPIO pin Output Level */
  HAL_GPIO_WritePin(OLED_CSN_GPIO_Port, OLED_CSN_Pin, GPIO_PIN_RESET);

  /*Configure GPIO pin Output Level */
  HAL_GPIO_WritePin(GPIOB, OLED_RES_Pin|OLED_DC_Pin, GPIO_PIN_RESET);

  /*Configure GPIO pins : PE5 PE6 */
  GPIO_InitStruct.Pin = GPIO_PIN_5|GPIO_PIN_6;
  GPIO_InitStruct.Mode = GPIO_MODE_AF_PP;
  GPIO_InitStruct.Pull = GPIO_NOPULL;
  GPIO_InitStruct.Speed = GPIO_SPEED_FREQ_LOW;
  GPIO_InitStruct.Alternate = GPIO_AF3_TIM9;
  HAL_GPIO_Init(GPIOE, &GPIO_InitStruct);

  /*Configure GPIO pin : LED1_Pin */
  GPIO_InitStruct.Pin = LED1_Pin;
  GPIO_InitStruct.Mode = GPIO_MODE_OUTPUT_PP;
  GPIO_InitStruct.Pull = GPIO_NOPULL;
  GPIO_InitStruct.Speed = GPIO_SPEED_FREQ_LOW;
  HAL_GPIO_Init(LED1_GPIO_Port, &GPIO_InitStruct);

  /*Configure GPIO pin : OLED_CSN_Pin */
  GPIO_InitStruct.Pin = OLED_CSN_Pin;
  GPIO_InitStruct.Mode = GPIO_MODE_OUTPUT_PP;
  GPIO_InitStruct.Pull = GPIO_NOPULL;
  GPIO_InitStruct.Speed = GPIO_SPEED_FREQ_VERY_HIGH;
  HAL_GPIO_Init(OLED_CSN_GPIO_Port, &GPIO_InitStruct);

  /*Configure GPIO pins : OLED_RES_Pin OLED_DC_Pin */
  GPIO_InitStruct.Pin = OLED_RES_Pin|OLED_DC_Pin;
  GPIO_InitStruct.Mode = GPIO_MODE_OUTPUT_PP;
  GPIO_InitStruct.Pull = GPIO_NOPULL;
  GPIO_InitStruct.Speed = GPIO_SPEED_FREQ_VERY_HIGH;
  HAL_GPIO_Init(GPIOB, &GPIO_InitStruct);

  /*Configure GPIO pin : PB8 */
  GPIO_InitStruct.Pin = GPIO_PIN_8;
  GPIO_InitStruct.Mode = GPIO_MODE_AF_PP;
  GPIO_InitStruct.Pull = GPIO_NOPULL;
  GPIO_InitStruct.Speed = GPIO_SPEED_FREQ_LOW;
  GPIO_InitStruct.Alternate = GPIO_AF3_TIM10;
  HAL_GPIO_Init(GPIOB, &GPIO_InitStruct);

  /*Configure GPIO pin : PB9 */
  GPIO_InitStruct.Pin = GPIO_PIN_9;
  GPIO_InitStruct.Mode = GPIO_MODE_AF_PP;
  GPIO_InitStruct.Pull = GPIO_NOPULL;
  GPIO_InitStruct.Speed = GPIO_SPEED_FREQ_LOW;
  GPIO_InitStruct.Alternate = GPIO_AF3_TIM11;
  HAL_GPIO_Init(GPIOB, &GPIO_InitStruct);

}

 /**
  * @brief  Period elapsed callback in non blocking mode
  * @note   This function is called  when TIM7 interrupt took place, inside
  * HAL_TIM_IRQHandler(). It makes a direct call to HAL_IncTick() to increment
  * a global variable "uwTick" used as application time base.
  * @param  htim : TIM handle
  * @retval None
  */
void HAL_TIM_PeriodElapsedCallback(TIM_HandleTypeDef *htim)
{
  if (htim->Instance == TIM7) {
    HAL_IncTick();
  }
  /* USER CODE BEGIN Callback 1 */
  else if(htim->Instance == TIM1)
  {
	  HAL_UART_Transmit_IT(&huart5, (unsigned char *)&frame, sizeof(frame));
	  //HAL_UART_Transmit_IT(&huart1, (unsigned char *)&frame, sizeof(frame));
	  OLED_Refresh_Gram();

      if(pidinit==1&&lock!=0)
    	  PID_CTRL();
      setmotor();
  }
  /* USER CODE END Callback 1 */
}

void Error_Handler(void)
{
  __disable_irq();
  while (1)
  {
  }
}

/************************ (C) COPYRIGHT STMicroelectronics *****END OF FILE****/
